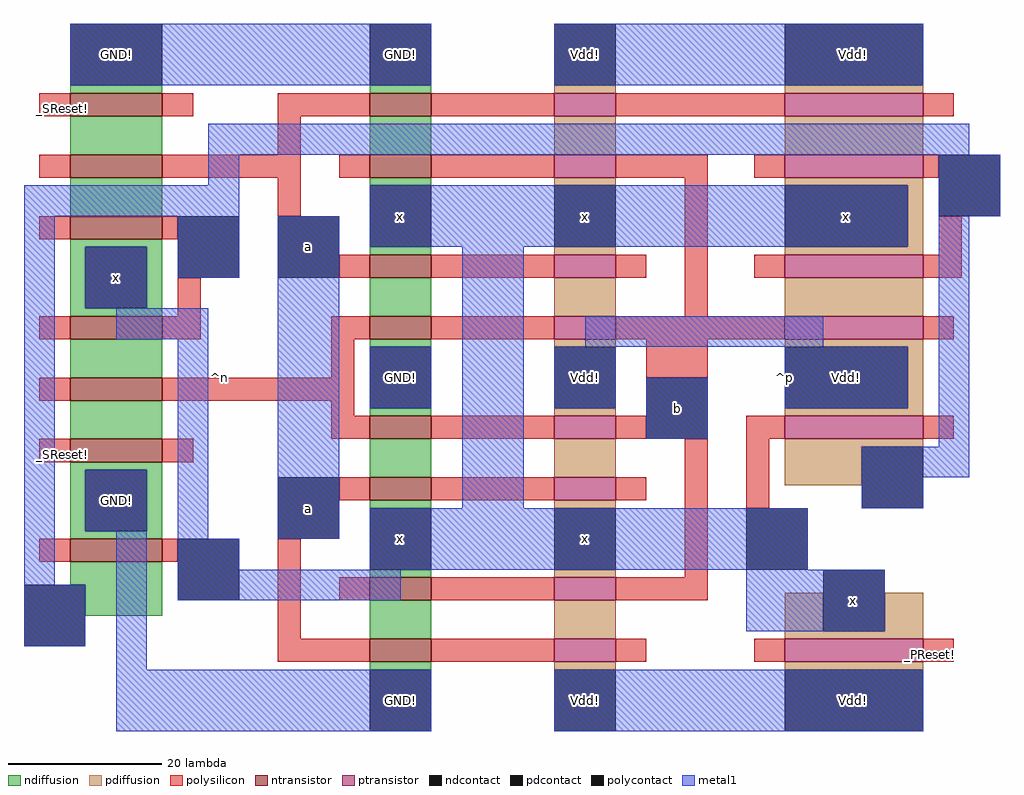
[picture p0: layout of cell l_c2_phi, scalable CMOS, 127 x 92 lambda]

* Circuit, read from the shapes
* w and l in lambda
.subckt l_c2_phi GND! Vdd! _PReset! _SReset! a b x
M1 GND! x n1 VSUBS nfet w=12 l=3
M2 n2 _SReset! GND! VSUBS nfet w=12 l=3
M3 n3 b n2 VSUBS nfet w=12 l=3
M4 x n1 n3 VSUBS nfet w=12 l=3
M5 n4 n1 x VSUBS nfet w=12 l=3
M6 n5 a n4 VSUBS nfet w=12 l=3
M7 GND! _SReset! n5 VSUBS nfet w=12 l=3
M8 n6 a GND! VSUBS nfet w=8 l=3
M9 x b n6 VSUBS nfet w=8 l=3
M10 n7 a x VSUBS nfet w=8 l=3
M11 GND! b n7 VSUBS nfet w=8 l=3
M12 n8 b GND! VSUBS nfet w=8 l=3
M13 x a n8 VSUBS nfet w=8 l=3
M14 n9 b x VSUBS nfet w=8 l=3
M15 GND! a n9 VSUBS nfet w=8 l=3
M16 n10 a Vdd! NWELL pfet w=8 l=3
M17 x b n10 NWELL pfet w=8 l=3
M18 n11 a x NWELL pfet w=8 l=3
M19 Vdd! b n11 NWELL pfet w=8 l=3
M20 n12 b Vdd! NWELL pfet w=8 l=3
M21 x a n12 NWELL pfet w=8 l=3
M22 n13 b x NWELL pfet w=8 l=3
M23 Vdd! a n13 NWELL pfet w=8 l=3
M24 x _PReset! Vdd! NWELL pfet w=18 l=3
M25 Vdd! x n1 NWELL pfet w=18 l=3
M26 n14 b Vdd! NWELL pfet w=18 l=3
M27 x n1 n14 NWELL pfet w=18 l=3
M28 n15 n1 x NWELL pfet w=18 l=3
M29 Vdd! a n15 NWELL pfet w=18 l=3
.ends

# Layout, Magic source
magic
tech scmos
<< ndiffusion >>
rect 91 128 103 129
rect 130 128 138 129
rect 91 120 103 125
rect 130 120 138 125
rect 91 112 103 117
rect 130 116 138 117
rect 91 108 103 109
rect 91 100 93 108
rect 101 100 103 108
rect 91 99 103 100
rect 130 107 138 108
rect 130 99 138 104
rect 91 91 103 96
rect 91 83 103 88
rect 130 95 138 96
rect 130 86 138 87
rect 91 79 103 80
rect 91 71 93 79
rect 101 71 103 79
rect 130 78 138 83
rect 91 70 103 71
rect 130 74 138 75
rect 91 64 103 67
rect 93 60 103 64
rect 130 65 138 66
rect 130 57 138 62
rect 130 53 138 54
<< pdiffusion >>
rect 154 128 162 129
rect 184 128 202 129
rect 154 120 162 125
rect 184 120 202 125
rect 154 116 162 117
rect 154 107 162 108
rect 154 99 162 104
rect 184 116 202 117
rect 200 108 202 116
rect 184 107 202 108
rect 184 99 202 104
rect 154 95 162 96
rect 154 86 162 87
rect 184 95 202 96
rect 200 87 202 95
rect 184 86 202 87
rect 154 78 162 83
rect 154 74 162 75
rect 154 65 162 66
rect 184 82 202 83
rect 184 77 194 82
rect 154 57 162 62
rect 184 58 189 63
rect 197 58 202 63
rect 184 57 202 58
rect 154 53 162 54
rect 184 53 202 54
<< ntransistor >>
rect 91 125 103 128
rect 130 125 138 128
rect 91 117 103 120
rect 130 117 138 120
rect 91 109 103 112
rect 130 104 138 107
rect 91 96 103 99
rect 130 96 138 99
rect 91 88 103 91
rect 130 83 138 86
rect 91 80 103 83
rect 130 75 138 78
rect 91 67 103 70
rect 130 62 138 65
rect 130 54 138 57
<< ptransistor >>
rect 154 125 162 128
rect 184 125 202 128
rect 154 117 162 120
rect 184 117 202 120
rect 154 104 162 107
rect 184 104 202 107
rect 154 96 162 99
rect 184 96 202 99
rect 154 83 162 86
rect 154 75 162 78
rect 184 83 202 86
rect 154 62 162 65
rect 154 54 162 57
rect 184 54 202 57
<< polysilicon >>
rect 87 125 91 128
rect 103 125 107 128
rect 118 125 130 128
rect 138 125 154 128
rect 162 125 184 128
rect 202 125 206 128
rect 118 120 121 125
rect 87 117 91 120
rect 103 117 121 120
rect 126 117 130 120
rect 138 117 154 120
rect 162 117 174 120
rect 180 117 184 120
rect 202 117 204 120
rect 118 112 121 117
rect 87 109 91 112
rect 103 109 105 112
rect 126 104 130 107
rect 138 104 154 107
rect 162 104 166 107
rect 105 99 108 104
rect 171 99 174 117
rect 204 107 207 112
rect 180 104 184 107
rect 202 104 207 107
rect 87 96 91 99
rect 103 96 108 99
rect 125 96 130 99
rect 138 96 154 99
rect 162 96 184 99
rect 202 96 206 99
rect 125 91 128 96
rect 87 88 91 91
rect 103 88 128 91
rect 125 86 128 88
rect 166 91 174 96
rect 125 83 130 86
rect 138 83 154 86
rect 162 83 166 86
rect 87 80 91 83
rect 103 80 107 83
rect 126 75 130 78
rect 138 75 154 78
rect 162 75 166 78
rect 87 67 91 70
rect 103 67 105 70
rect 118 57 121 70
rect 171 65 174 83
rect 179 83 184 86
rect 202 83 206 86
rect 179 74 182 83
rect 126 62 130 65
rect 138 62 154 65
rect 162 62 174 65
rect 118 54 130 57
rect 138 54 154 57
rect 162 54 166 57
rect 180 54 184 57
rect 202 54 206 57
<< ndcontact >>
rect 91 129 103 137
rect 130 129 138 137
rect 93 100 101 108
rect 130 108 138 116
rect 130 87 138 95
rect 93 71 101 79
rect 85 56 93 64
rect 130 66 138 74
rect 130 45 138 53
<< pdcontact >>
rect 154 129 162 137
rect 184 129 202 137
rect 154 108 162 116
rect 184 108 200 116
rect 154 87 162 95
rect 184 87 200 95
rect 154 66 162 74
rect 194 74 202 82
rect 189 58 197 66
rect 154 45 162 53
rect 184 45 202 53
<< polycontact >>
rect 105 104 113 112
rect 118 104 126 112
rect 204 112 212 120
rect 166 83 174 91
rect 118 70 126 78
rect 105 62 113 70
rect 179 66 187 74
<< metal1 >>
rect 91 129 138 137
rect 154 129 202 137
rect 109 120 208 124
rect 109 116 113 120
rect 85 112 113 116
rect 85 64 89 112
rect 93 100 101 108
rect 105 104 113 112
rect 97 96 109 100
rect 93 71 101 79
rect 85 56 93 64
rect 97 53 101 71
rect 105 70 109 96
rect 118 70 126 112
rect 130 108 200 116
rect 204 112 212 120
rect 130 87 138 95
rect 142 74 150 108
rect 158 95 189 99
rect 154 87 162 95
rect 166 83 174 91
rect 184 87 200 95
rect 204 82 208 112
rect 194 78 208 82
rect 194 74 202 78
rect 105 66 113 70
rect 130 66 187 74
rect 105 62 134 66
rect 179 58 197 66
rect 97 45 138 53
rect 154 45 202 53
<< labels >>
rlabel metal1 134 112 134 112 1 x
rlabel metal1 158 112 158 112 1 x
rlabel metal1 158 133 158 133 5 Vdd!
rlabel metal1 134 133 134 133 5 GND!
rlabel metal1 158 91 158 91 1 Vdd!
rlabel metal1 134 49 134 49 1 GND!
rlabel metal1 158 49 158 49 1 Vdd!
rlabel metal1 158 70 158 70 1 x
rlabel metal1 134 70 134 70 1 x
rlabel polysilicon 90 126 90 126 1 _SReset!
rlabel polysilicon 90 81 90 81 1 _SReset!
rlabel metal1 97 104 97 104 1 x
rlabel metal1 134 91 134 91 1 GND!
rlabel metal1 192 91 192 91 1 Vdd!
rlabel metal1 192 112 192 112 5 x
rlabel polysilicon 203 55 203 55 1 _PReset!
rlabel metal1 193 62 193 62 1 x
rlabel metal1 193 49 193 49 1 Vdd!
rlabel metal1 193 133 193 133 5 Vdd!
rlabel metal1 170 87 170 87 1 b
rlabel metal1 122 108 122 108 1 a
rlabel metal1 122 74 122 74 1 a
rlabel metal1 97 75 97 75 1 GND!
rlabel metal1 97 133 97 133 5 GND!
rlabel space 84 44 137 138 7 ^n
rlabel space 155 44 213 138 3 ^p
<< end >>
